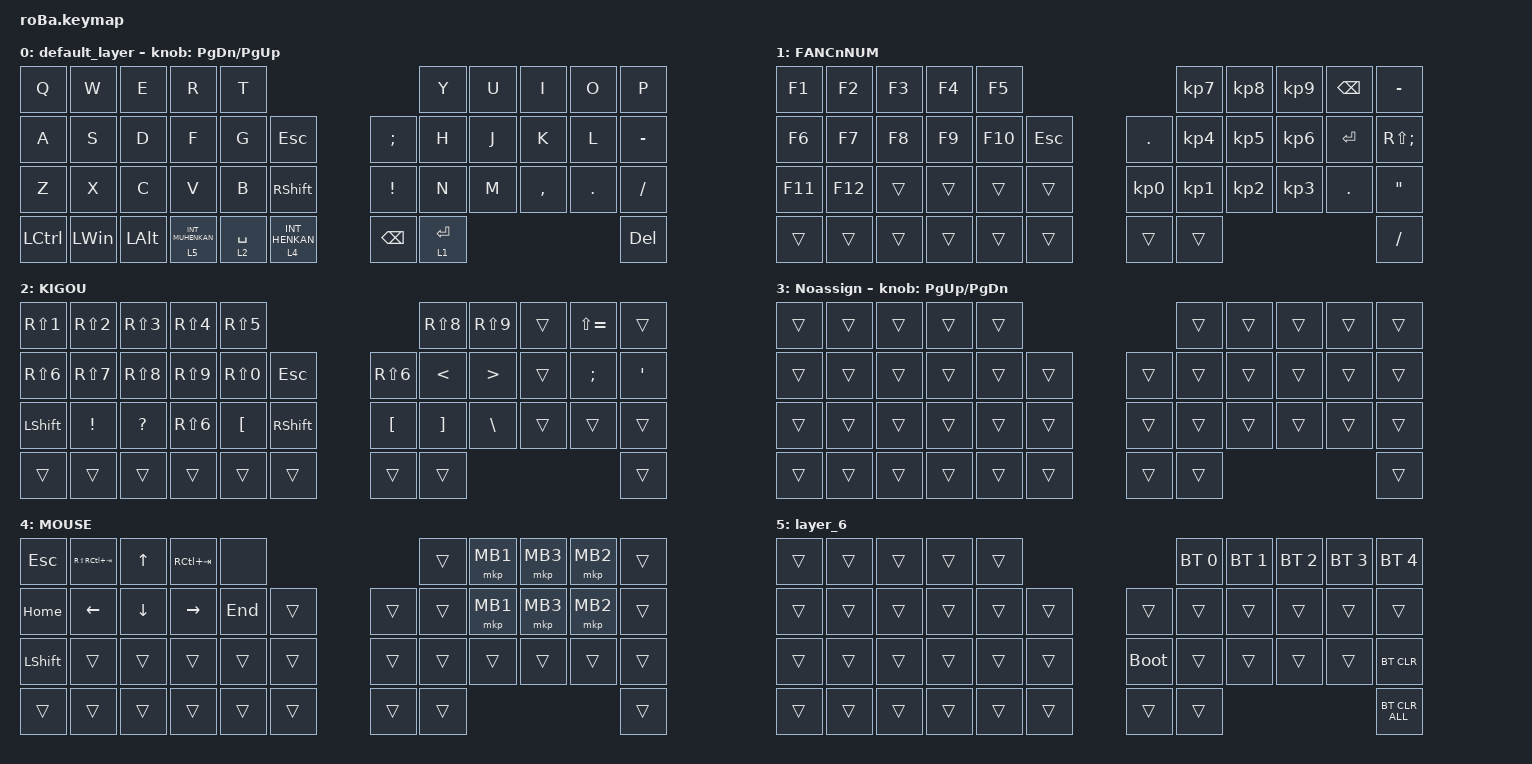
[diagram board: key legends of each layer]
#include <behaviors.dtsi>
#include <dt-bindings/zmk/bt.h>
#include <dt-bindings/zmk/keys.h>
#include <dt-bindings/zmk/pointing.h>

// OS設定を日本語キーボードのまま使用するための変換定義

#define JP_DQUOTE       AT                // "
#define JP_AMPERSAND    CARET             // &
#define JP_QUOTE        AMPERSAND         // '
#define JP_EQUAL        UNDER             // =
#define JP_CARET        EQUAL             // ^
#define JP_YEN          0x89              // ¥
#define JP_PLUS         COLON             // +
#define JP_TILDE        PLUS              // ~
#define JP_PIPE         LS(0x89)          // |
#define JP_AT           LEFT_BRACKET      // @
#define JP_COLON        SINGLE_QUOTE      // :
#define JP_ASTERISK     DOUBLE_QUOTES     // *
#define JP_BACKQUOTE    LEFT_BRACE        // `
#define JP_UNDERSCORE   LS(0x87)          // _
#define JP_LBRACKET     RIGHT_BRACKET     // [
#define JP_RBRACKET     BACKSLASH         // ]
#define JP_LPAREN       ASTERISK          // (
#define JP_RPAREN       LEFT_PARENTHESIS  // )
#define JP_LBRACE       RIGHT_BRACE       // {
#define JP_RBRACE       PIPE              // }
#define JP_KANA         LANGUAGE_1        // かな
#define JP_EISU         LANGUAGE_2        // 英数
#define JP_HANZEN       GRAVE             // 半角/全角

&mt {
    flavor = "balanced";
    quick-tap-ms = <0>;
};

&trackball {
    automouse-layer = <4>;
    scroll-layers = <5>;

    // arrows {
    //     layers = <3>;
    //     bindings =
    //         <&kp RIGHT_ARROW>,
    //         <&kp LEFT_ARROW>,
    //         <&kp UP_ARROW>,
    //         <&kp DOWN_ARROW>;
    //     tick = <10>;
    //     wait-ms = <5>;
    //     tap-ms = <5>;
    // };
};

/ {
    combos {
        compatible = "zmk,combos";

        tab {
            bindings = <&kp TAB>;
            key-positions = <11 12>;
        };

        shift_tab {
            bindings = <&kp LS(TAB)>;
            key-positions = <12 13>;
        };

        muhennkann {
            bindings = <&to_layer_0 INT_MUHENKAN>;
            key-positions = <17 16>;
        };

        hanzen {
            bindings = <&kp CAPSLOCK>;
            key-positions = <22 23>;
        };

        Esc {
            bindings = <&kp ESC>;
            key-positions = <0 1>;
        };

        back {
            bindings = <&kp BACKSPACE>;
            key-positions = <9 8>;
        };

        enter {
            bindings = <&kp ENTER>;
            key-positions = <20 21>;
        };
    };

    macros {
        to_layer_0: to_layer_0 {
            compatible = "zmk,behavior-macro-one-param";
            #binding-cells = <1>;
            bindings = <&to 0 &macro_param_1to1 &kp MACRO_PLACEHOLDER>;
            label = "TO_LAYER_0";
        };

        new_macro: new_macro {
            compatible = "zmk,behavior-macro";
            #binding-cells = <0>;
            bindings = <&none>;
            label = "NEW_MACRO";
        };
    };

    behaviors {
        lt_to_layer_0: lt_to_layer_0 {
            compatible = "zmk,behavior-hold-tap";
            label = "LAYER_TAP_TO_0";
            bindings = <&mo>, <&to_layer_0>;

            #binding-cells = <2>;
            tapping-term-ms = <200>;
        };
    };

    keymap {
        compatible = "zmk,keymap";

        default_layer {
            bindings = <
&kp Q      &kp W         &kp E         &kp R                          &kp T                                                        &kp Y        &kp U  &kp I      &kp O    &kp P
&kp A      &kp S         &kp D         &kp F                          &kp G        &kp ESCAPE                       &kp SEMICOLON  &kp H        &kp J  &kp K      &kp L    &kp MINUS
&kp Z      &kp X         &kp C         &kp V                          &kp B        &kp RIGHT_SHIFT                  &kp EXCL       &kp N        &kp M  &kp COMMA  &kp DOT  &kp SLASH
&kp LCTRL  &kp LEFT_WIN  &kp LEFT_ALT  &lt_to_layer_0 5 INT_MUHENKAN  &lt 2 SPACE  &lt_to_layer_0 4 INT_HENKAN      &kp BACKSPACE  &lt 1 ENTER                             &kp DEL
            >;

            sensor-bindings = <&inc_dec_kp PAGE_DOWN PAGE_UP>;
        };

        FANCnNUM {
            bindings = <
&kp F1   &kp F2   &kp F3  &kp F4  &kp F5                                 &kp KP_NUMBER_7  &kp KP_NUMBER_8  &kp KP_NUMBER_9  &kp BSPC   &kp MINUS
&kp F6   &kp F7   &kp F8  &kp F9  &kp F10  &kp ESC      &kp DOT          &kp KP_NUMBER_4  &kp KP_NUMBER_5  &kp KP_NUMBER_6  &kp ENTER  &kp RS(SEMI)
&kp F11  &kp F12  &trans  &trans  &trans   &trans       &kp KP_NUMBER_0  &kp KP_NUMBER_1  &kp KP_NUMBER_2  &kp KP_NUMBER_3  &kp DOT    &kp DOUBLE_QUOTES
&trans   &trans   &trans  &trans  &trans   &trans       &trans           &trans                                                        &kp FSLH
            >;
        };

        KIGOU {
            bindings = <
&kp RS(N1)      &kp RS(N2)       &kp RS(N3)    &kp RS(N4)        &kp RS(N5)                                               &kp RS(NUMBER_8)   &kp RS(NUMBER_9)  &trans  &kp LS(EQUAL)  &trans
&kp RS(N6)      &kp RS(N7)       &kp RS(N8)    &kp RS(N9)        &kp RS(N0)        &kp ESC              &kp RS(N6)        &kp LESS_THAN      &kp GREATER_THAN  &trans  &kp SEMICOLON  &kp SQT
&kp LEFT_SHIFT  &kp EXCLAMATION  &kp QUESTION  &kp RS(NUMBER_6)  &kp LEFT_BRACKET  &kp RIGHT_SHIFT      &kp LEFT_BRACKET  &kp RIGHT_BRACKET  &kp BACKSLASH     &trans  &trans         &trans
&trans          &trans           &trans        &trans            &trans            &trans               &trans            &trans                                                      &trans
            >;
        };

        Noassign {
            bindings = <
&trans  &trans  &trans  &trans  &trans                      &trans  &trans  &trans  &trans  &trans
&trans  &trans  &trans  &trans  &trans  &trans      &trans  &trans  &trans  &trans  &trans  &trans
&trans  &trans  &trans  &trans  &trans  &trans      &trans  &trans  &trans  &trans  &trans  &trans
&trans  &trans  &trans  &trans  &trans  &trans      &trans  &trans                          &trans
            >;

            sensor-bindings = <&inc_dec_kp PAGE_UP PAGE_DOWN>;
        };

        MOUSE {
            bindings = <
&kp ESC         &kp RS(RC(TAB))  &kp UP_ARROW    &kp RC(TAB)      &none                        &trans  &mkp MB1  &mkp MB3  &mkp MB2  &trans
&kp HOME        &kp LEFT_ARROW   &kp DOWN_ARROW  &kp RIGHT_ARROW  &kp END  &trans      &trans  &trans  &mkp MB1  &mkp MB3  &mkp MB2  &trans
&kp LEFT_SHIFT  &trans           &trans          &trans           &trans   &trans      &trans  &trans  &trans    &trans    &trans    &trans
&trans          &trans           &trans          &trans           &trans   &trans      &trans  &trans                                &trans
            >;
        };

        layer_6 {
            bindings = <
&trans  &trans  &trans  &trans  &trans                           &bt BT_SEL 0  &bt BT_SEL 1  &bt BT_SEL 2  &bt BT_SEL 3  &bt BT_SEL 4
&trans  &trans  &trans  &trans  &trans  &trans      &trans       &trans        &trans        &trans        &trans        &trans
&trans  &trans  &trans  &trans  &trans  &trans      &bootloader  &trans        &trans        &trans        &trans        &bt BT_CLR
&trans  &trans  &trans  &trans  &trans  &trans      &trans       &trans                                                  &bt BT_CLR_ALL
            >;
        };
    };
};
